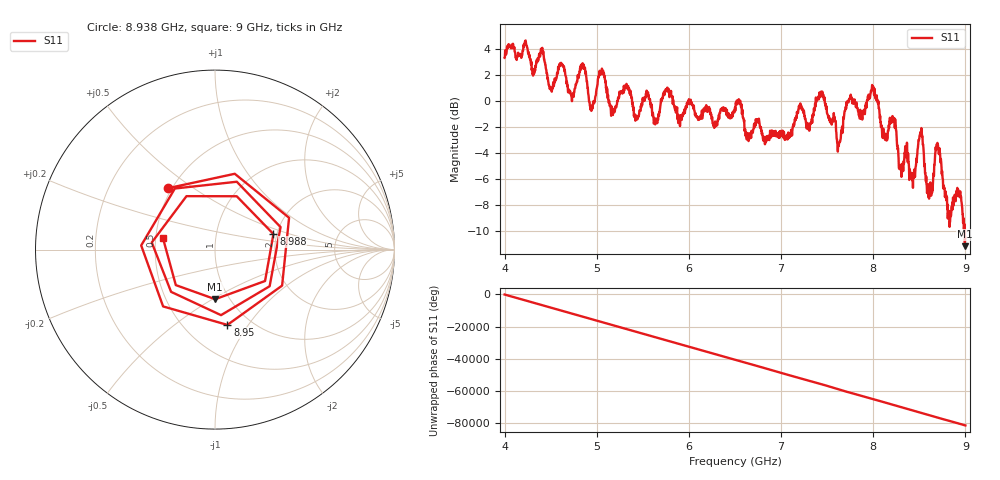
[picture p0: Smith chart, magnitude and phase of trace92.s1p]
! Created with skrf 1.8.0 (http://scikit-rf.org).
# Hz S RI R 50.0
!freq ReS11 ImS11
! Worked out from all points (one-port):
!   1601 points, 4 GHz to 9 GHz, reference 50 ohm
!   lowest |S11| = -11.2 dB at 8.994 GHz (marker M1), VSWR 1.76, Z = 43 - j25.7 ohm
!   |S11| at or under -10 dB: 8.991689 GHz to end of sweep
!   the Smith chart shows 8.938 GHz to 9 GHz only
!   S11 on the Smith chart (normalised r, x): 8.938 GHz: 0.48, +0.40; 8.95 GHz: 0.79, -0.80; 8.988 GHz: 1.92, +0.37; 9 GHz: 0.55, +0.08
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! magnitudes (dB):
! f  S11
! 4 GHz  3.3
! 4.4 GHz  4.0
! 4.5 GHz  1.0
! 4.625 GHz  2.8
! 4.728 GHz  0.3
! 4.85 GHz  2.9
! 4.941 GHz  -0.8
! 5.05 GHz  2.1
! 5.166 GHz  -1.0
! 5.25 GHz  0.5
! 5.875 GHz  -1.4
! 6.5 GHz  -0.5
! 7.125 GHz  -2.1
! 7.438 GHz  0.6
! 7.628 GHz  -3.3
! 7.75 GHz  0.3
! 8 GHz  1.1
! 8.375 GHz  -4.7
! 8.434 GHz  -5.5
! 8.516 GHz  -2.6
! 8.619 GHz  -6.3
! 8.7 GHz  -3.4
! 8.822 GHz  -8.5
! 8.938 GHz  -7.3
! 8.95 GHz  -7.4
! 8.988 GHz  -9.4
! 8.994 GHz  -11.2
! 9 GHz  -10.5
